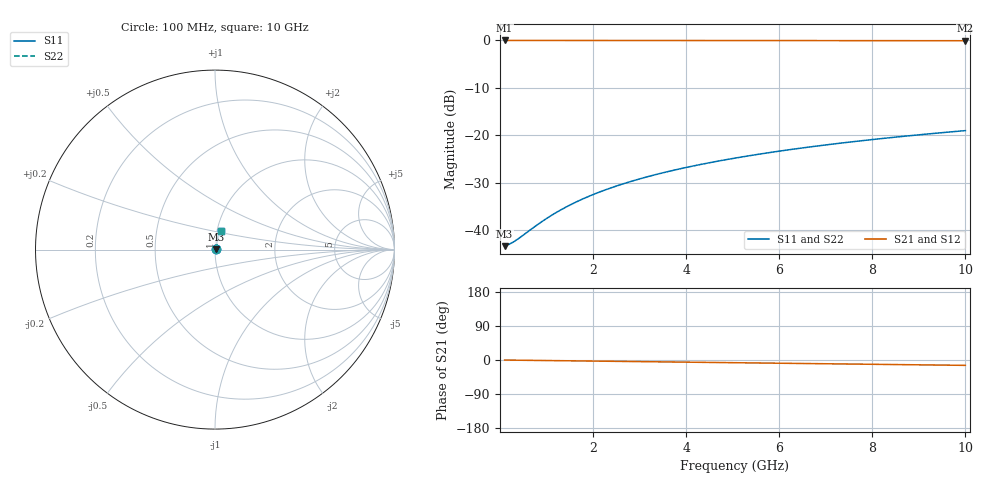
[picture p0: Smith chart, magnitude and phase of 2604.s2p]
# Hz S RI R 50.00
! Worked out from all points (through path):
!   100 points, 100 MHz to 10 GHz, reference 50 ohm
!   highest |S21| = -0.06 dB at 100 MHz (marker M1); lowest = -0.1 dB at 10 GHz (marker M2)
!   group delay of S21, straight-line fit = 3.93 ps
!   lowest |S11| = -43.4 dB at 100 MHz (marker M3), VSWR 1.01, Z = 50.7 + j0.113 ohm
!   |S11| at or under -10 dB: start of sweep to end of sweep
!   |S22| runs from -43.4 to -19.1 dB; largest |S21 - S12| = 0
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1e8  0.00665 0.00111  0.9933 -0.00246  0.9933 -0.00246  0.00665 0.00111
2e8  0.00671 0.00222  0.9933 -0.00492  0.9933 -0.00492  0.00671 0.00222
3e8  0.00675 0.00333  0.9932 -0.00738  0.9932 -0.00738  0.00675 0.00333
4e8  0.0068 0.00444  0.9932 -0.00984  0.9932 -0.00984  0.0068 0.00444
9e8  0.00706 0.00999  0.9929 -0.0221  0.9929 -0.0221  0.00706 0.00999
1.2e9  0.00727 0.0133  0.9926 -0.0295  0.9926 -0.0295  0.00727 0.0133
1.5e9  0.00753 0.0166  0.9922 -0.0369  0.9922 -0.0369  0.00753 0.0166
1.8e9  0.00783 0.02  0.9919 -0.0442  0.9919 -0.0442  0.00783 0.02
2.1e9  0.00818 0.0233  0.9914 -0.0516  0.9914 -0.0516  0.00818 0.0233
2.5e9  0.00871 0.0277  0.9907 -0.0614  0.9907 -0.0614  0.00871 0.0277
2.9e9  0.00933 0.0321  0.9899 -0.0712  0.9899 -0.0712  0.00933 0.0321
3.4e9  0.0102 0.0375  0.9887 -0.0834  0.9887 -0.0834  0.0102 0.0375
3.8e9  0.011 0.0419  0.9876 -0.0932  0.9876 -0.0932  0.011 0.0419
4.2e9  0.0119 0.0462  0.9864 -0.1029  0.9864 -0.1029  0.0119 0.0462
4.6e9  0.0129 0.0506  0.9851 -0.1126  0.9851 -0.1126  0.0129 0.0506
5.1e9  0.0143 0.0559  0.9833 -0.1247  0.9833 -0.1247  0.0143 0.0559
5.9e9  0.0167 0.0644  0.98 -0.144  0.98 -0.144  0.0167 0.0644
6.7e9  0.0195 0.0728  0.9764 -0.1633  0.9764 -0.1633  0.0195 0.0728
7.5e9  0.0225 0.0811  0.9722 -0.1823  0.9722 -0.1823  0.0225 0.0811
8.4e9  0.0264 0.0903  0.967 -0.2036  0.967 -0.2036  0.0264 0.0903
9.2e9  0.0301 0.0982  0.962 -0.2224  0.962 -0.2224  0.0301 0.0982
1e10  0.0342 0.106  0.9565 -0.241  0.9565 -0.241  0.0342 0.106
